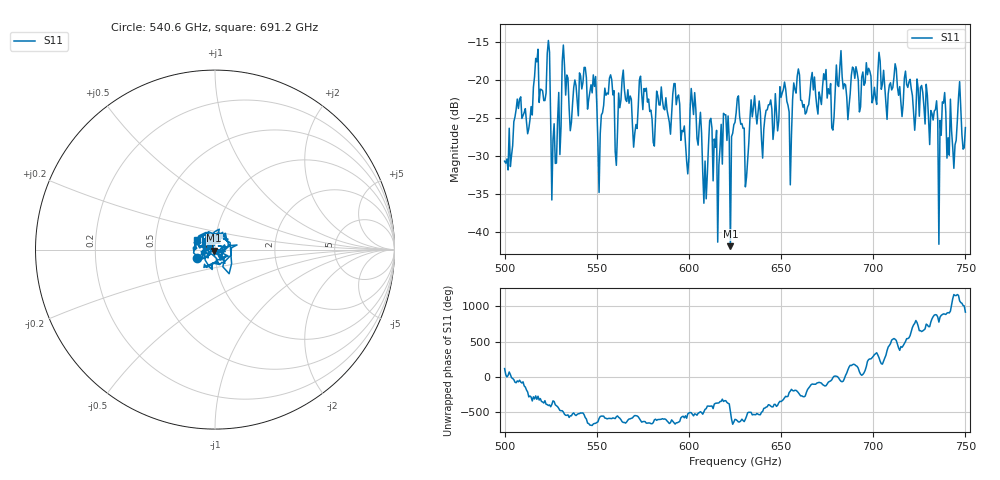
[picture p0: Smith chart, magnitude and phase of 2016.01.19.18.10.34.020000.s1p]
!Created with skrf (http://scikit-rf.org).
# GHz S RI R 50.0
!freq ReS11 ImS11
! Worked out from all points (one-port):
!   401 points, 500 GHz to 750 GHz, reference 50 ohm
!   lowest |S11| = -41.9 dB at 622.5 GHz (marker M1), VSWR 1.02, Z = 49.6 - j0.665 ohm
!   |S11| at or under -10 dB: start of sweep to end of sweep
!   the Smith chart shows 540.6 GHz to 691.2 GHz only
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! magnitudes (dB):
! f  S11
! 500 GHz  -30.7
! 507.5 GHz  -23.8
! 513.8 GHz  -25.3
! 516.9 GHz  -17.2
! 523.8 GHz  -14.8
! 526.9 GHz  -25.8
! 531.2 GHz  -17.6
! 548.1 GHz  -19.4
! 551.9 GHz  -27.1
! 556.9 GHz  -19.8
! 560 GHz  -29.5
! 562.5 GHz  -23.7
! 593.8 GHz  -22.3
! 598.8 GHz  -30.7
! 602.5 GHz  -24.6
! 608.8 GHz  -30.7
! 611.2 GHz  -25.4
! 622.5 GHz  -41.9
! 625 GHz  -25.6
! 631.2 GHz  -32.8
! 635 GHz  -23.6
! 656.2 GHz  -22.6
! 658.8 GHz  -19.5
! 687.5 GHz  -21.8
! 718.8 GHz  -21.0
! 735.6 GHz  -41.7
! 738.1 GHz  -23.1
! 750 GHz  -26.3
